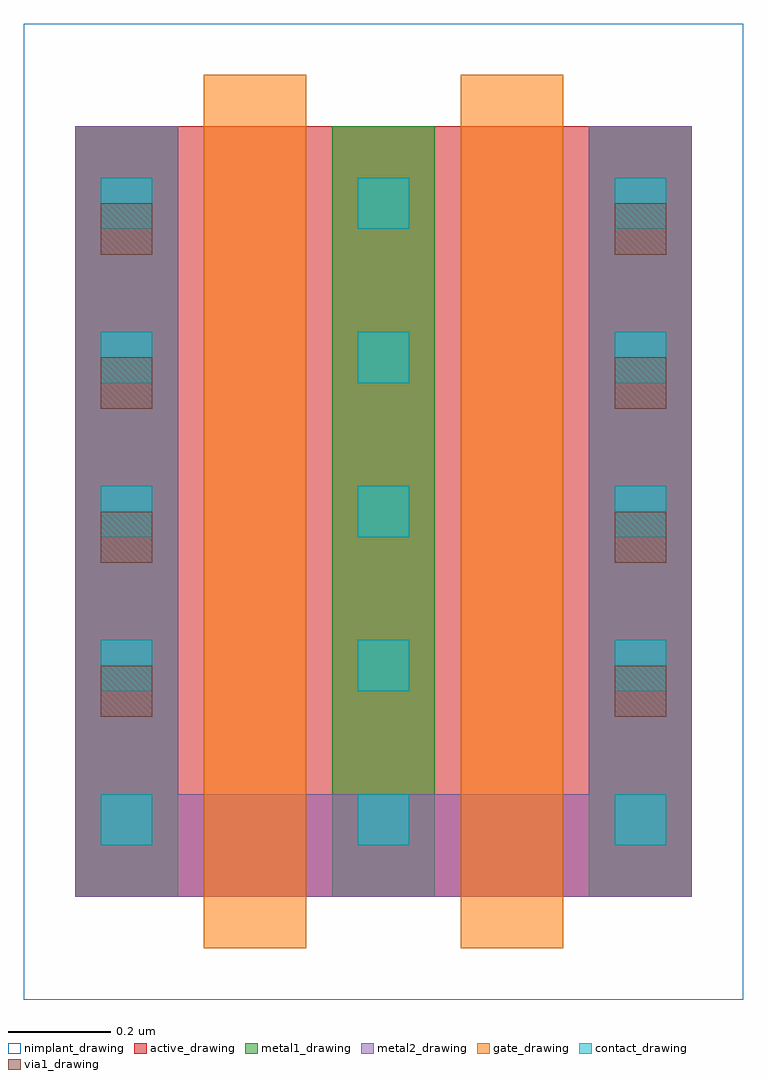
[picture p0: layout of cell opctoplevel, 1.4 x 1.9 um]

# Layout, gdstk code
import gdstk
lib = gdstk.Library(unit=1e-6, precision=1e-09)
def R(c, l, rs):  # rectangles x0, y0, x1, y1
    for r in rs: c.add(gdstk.rectangle(r[:2], r[2:], *l))
def A(c, l, x, y, w, h, nx, ny, dx, dy):  # array of equal rectangles
    R(c, l, [(x+i*dx, y+j*dy, x+i*dx+w, y+j*dy+h) for i in range(nx) for j in range(ny)])
active_drawing = (1, 0)
nimplant_drawing = (5, 0)
gate_drawing = (6, 0)
contact_drawing = (7, 0)
metal1_drawing = (8, 0)
via1_drawing = (9, 0)
metal2_drawing = (10, 0)

opctoplevel = lib.new_cell('opctoplevel')
R(opctoplevel, active_drawing, [(-0.25,0,0.95,1.5)])
R(opctoplevel, nimplant_drawing, [(-0.35,-0.2,1.05,1.7)])
R(opctoplevel, gate_drawing, [(0,-0.1,0.2,1.6), (0.5,-0.1,0.7,1.6)])
A(opctoplevel, contact_drawing, -0.2, 0.1, 0.1, 0.1, 3, 5, 0.5, 0.3)
A(opctoplevel, metal1_drawing, -0.25, 0, 0.2, 1.5, 3, 1, 0.5, 0)
A(opctoplevel, via1_drawing, -0.2, 0.35, 0.1, 0.1, 1, 4, 0, 0.3)
A(opctoplevel, via1_drawing, 0.8, 0.35, 0.1, 0.1, 1, 4, 0, 0.3)
R(opctoplevel, metal2_drawing, [(-0.25,0,-0.05,1.5), (-0.25,0,0.95,0.2), (0.75,0,0.95,1.5)])

lib.write_gds('opctoplevel.gds')
